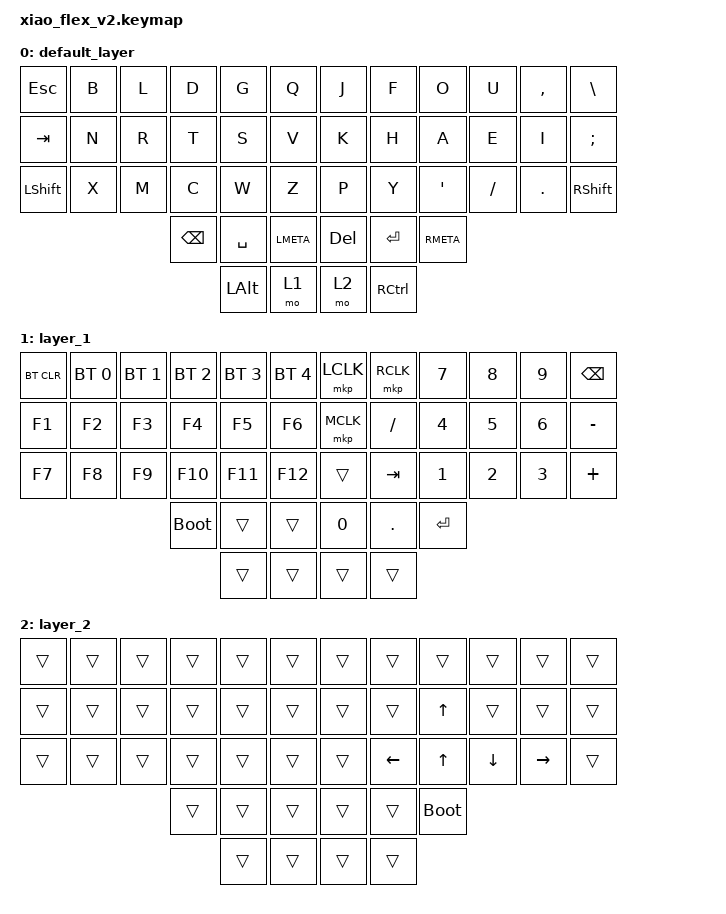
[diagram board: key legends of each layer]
/*
 * Copyright (c) 2020 The ZMK Contributors
 *
 * SPDX-License-Identifier: MIT
 */

#include <dt-bindings/led/led.h>
#include <behaviors/mouse_keys.dtsi>
#include <behaviors.dtsi>
#include <dt-bindings/zmk/bt.h>
#include <dt-bindings/zmk/keys.h>
#include <dt-bindings/zmk/mouse.h>

/ {
    keymap {
        compatible = "zmk,keymap";

        default_layer {
            bindings = <
&kp ESC    &kp B  &kp L  &kp D      &kp G      &kp Q           &kp J    &kp F      &kp O      &kp U    &kp COMMA  &kp BSLH
&kp TAB    &kp N  &kp R  &kp T      &kp S      &kp V           &kp K    &kp H      &kp A      &kp E    &kp I      &kp SEMI
&kp LSHFT  &kp X  &kp M  &kp C      &kp W      &kp Z           &kp P    &kp Y      &kp SQT    &kp FSLH &kp DOT    &kp RSHFT

                         &kp BSPC   &kp SPACE  &kp LMETA       &kp DEL  &kp RET    &kp RMETA
                                    &kp LALT   &mo 1           &mo 2    &kp RCTRL
            >;
        };

        layer_1 {
            bindings = <
&bt BT_CLR  &bt BT_SEL 0  &bt BT_SEL 1  &bt BT_SEL 2  &bt BT_SEL 3  &bt BT_SEL 4       &mkp LCLK  &mkp RCLK  &kp N7     &kp N8  &kp N9  &kp BSPC
&kp F1      &kp F2        &kp F3        &kp F4        &kp F5        &kp F6             &mkp MCLK  &kp FSLH   &kp N4     &kp N5  &kp N6  &kp MINUS
&kp F7      &kp F8        &kp F9        &kp F10       &kp F11       &kp F12            &trans     &kp TAB    &kp N1     &kp N2  &kp N3  &kp PLUS

                                        &bootloader   &trans        &trans             &kp N0     &kp DOT    &kp ENTER
                                                      &trans        &trans             &trans     &trans
            >;
        };

        layer_2 {
            bindings = <
&trans  &trans  &trans  &trans  &trans  &trans      &trans  &trans    &trans       &trans     &trans  &trans
&trans  &trans  &trans  &trans  &trans  &trans      &trans  &trans    &kp UP       &trans     &trans  &trans
&trans  &trans  &trans  &trans  &trans  &trans      &trans  &kp LEFT  &kp UP       &kp DOWN   &kp RIGHT  &trans

                        &trans  &trans  &trans      &trans  &trans    &bootloader
                                &trans  &trans      &trans  &trans
            >;
        };
    };
};
